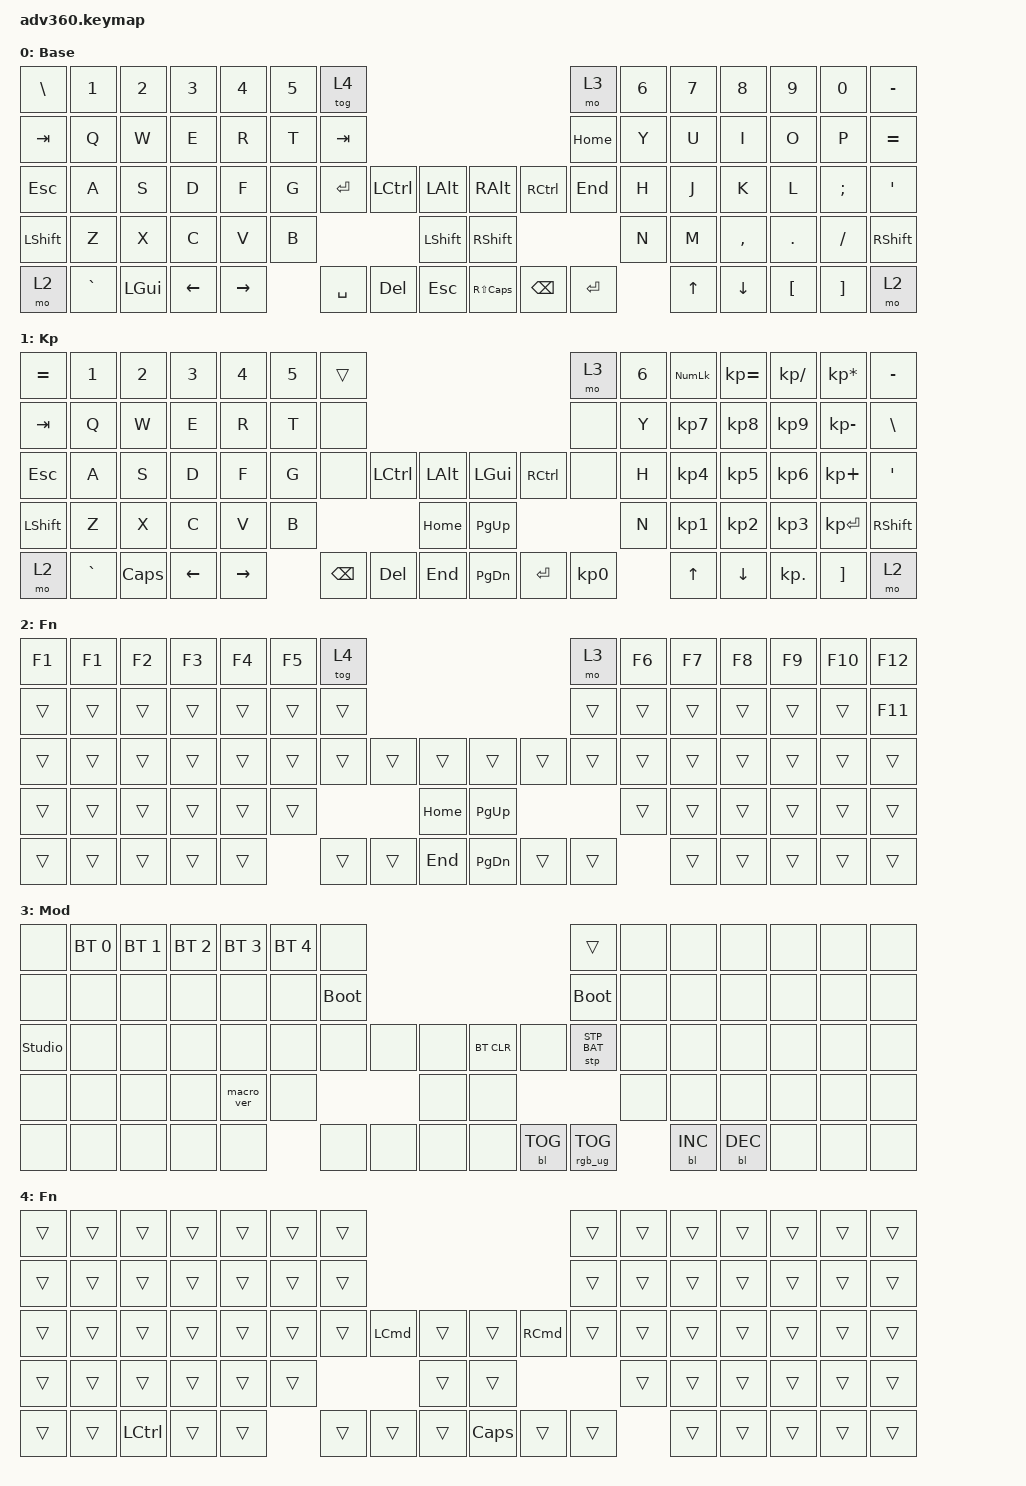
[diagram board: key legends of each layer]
#include <dt-bindings/zmk/stp.h>
#include <behaviors.dtsi>
#include <dt-bindings/zmk/backlight.h>
#include <dt-bindings/zmk/bt.h>
#include <dt-bindings/zmk/keys.h>
#include <dt-bindings/zmk/rgb.h>

/ {
    behaviors {
        #include "macros.dtsi"
      #include "version.dtsi"

        hm: homerow_mods {
            compatible = "zmk,behavior-hold-tap";
            label = "HOMEROW_MODS";
            #binding-cells = <2>;
            tapping-term-ms = <200>;
            quick_tap_ms = <175>;
            flavor = "tap-preferred";
            bindings = <&kp>, <&kp>;
        };
    };

    keymap {
        compatible = "zmk,keymap";

        default_layer {
            display-name = "Base";
            bindings = <
&kp BSLH   &kp N1     &kp N2    &kp N3    &kp N4     &kp N5  &tog 4                                                            &mo 3     &kp N6  &kp N7  &kp N8     &kp N9    &kp N0    &kp MINUS
&kp TAB    &kp Q      &kp W     &kp E     &kp R      &kp T   &kp TAB                                                           &kp HOME  &kp Y   &kp U   &kp I      &kp O     &kp P     &kp EQUAL
&kp ESC    &kp A      &kp S     &kp D     &kp F      &kp G   &kp RET    &kp LCTRL  &kp LALT       &kp RALT          &kp RCTRL  &kp END   &kp H   &kp J   &kp K      &kp L     &kp SEMI  &kp SQT
&kp LSHFT  &kp Z      &kp X     &kp C     &kp V      &kp B                         &kp LSHFT      &kp RSHFT                              &kp N   &kp M   &kp COMMA  &kp DOT   &kp FSLH  &kp RSHFT
&mo 2      &kp GRAVE  &kp LGUI  &kp LEFT  &kp RIGHT          &kp SPACE  &kp DEL    &kp ESC        &kp RS(CAPSLOCK)  &kp BSPC   &kp RET           &kp UP  &kp DOWN   &kp LBKT  &kp RBKT  &mo 2
            >;
        };

        keypad {
            display-name = "Kp";
            bindings = <
&kp EQUAL  &kp N1     &kp N2    &kp N3    &kp N4     &kp N5  &trans                                                   &mo 3      &kp N6  &kp KP_NUM  &kp KP_EQUAL  &kp KP_DIVIDE  &kp KP_MULTIPLY  &kp MINUS
&kp TAB    &kp Q      &kp W     &kp E     &kp R      &kp T   &none                                                    &none      &kp Y   &kp KP_N7   &kp KP_N8     &kp KP_N9      &kp KP_MINUS     &kp BSLH
&kp ESC    &kp A      &kp S     &kp D     &kp F      &kp G   &none     &kp LCTRL  &kp LALT      &kp LGUI   &kp RCTRL  &none      &kp H   &kp KP_N4   &kp KP_N5     &kp KP_N6      &kp KP_PLUS      &kp SQT
&kp LSHFT  &kp Z      &kp X     &kp C     &kp V      &kp B                        &kp HOME      &kp PG_UP                        &kp N   &kp KP_N1   &kp KP_N2     &kp KP_N3      &kp KP_ENTER     &kp RSHFT
&mo 2      &kp GRAVE  &kp CAPS  &kp LEFT  &kp RIGHT          &kp BSPC  &kp DEL    &kp END       &kp PG_DN  &kp ENTER  &kp KP_N0          &kp UP      &kp DOWN      &kp KP_DOT     &kp RBKT         &mo 2
            >;
        };

        fn {
            display-name = "Fn";
            bindings = <
&kp F1  &kp F1  &kp F2  &kp F3  &kp F4  &kp F5  &tog 4                                           &mo 3   &kp F6  &kp F7  &kp F8  &kp F9  &kp F10  &kp F12
&trans  &trans  &trans  &trans  &trans  &trans  &trans                                           &trans  &trans  &trans  &trans  &trans  &trans   &kp F11
&trans  &trans  &trans  &trans  &trans  &trans  &trans  &trans  &trans        &trans     &trans  &trans  &trans  &trans  &trans  &trans  &trans   &trans
&trans  &trans  &trans  &trans  &trans  &trans                  &kp HOME      &kp PG_UP                  &trans  &trans  &trans  &trans  &trans   &trans
&trans  &trans  &trans  &trans  &trans          &trans  &trans  &kp END       &kp PG_DN  &trans  &trans          &trans  &trans  &trans  &trans   &trans
            >;
        };

        mod {
            display-name = "Mod";
            bindings = <
&none           &bt BT_SEL 0  &bt BT_SEL 1  &bt BT_SEL 2  &bt BT_SEL 3  &bt BT_SEL 4  &none                                                  &trans           &none  &none       &none       &none  &none  &none
&none           &none         &none         &none         &none         &none         &bootloader                                            &bootloader      &none  &none       &none       &none  &none  &none
&studio_unlock  &none         &none         &none         &none         &none         &none        &none  &none      &bt BT_CLR  &none       &stp STP_BAT     &none  &none       &none       &none  &none  &none
&none           &none         &none         &none         &macro_ver    &none                             &none      &none                                    &none  &none       &none       &none  &none  &none
&none           &none         &none         &none         &none                       &none        &none  &none      &none       &bl BL_TOG  &rgb_ug RGB_TOG         &bl BL_INC  &bl BL_DEC  &none  &none  &none
            >;
        };

        mac {
            display-name = "Fn";
            bindings = <
&trans  &trans  &trans            &trans  &trans  &trans  &trans                                                                 &trans  &trans  &trans  &trans  &trans  &trans  &trans
&trans  &trans  &trans            &trans  &trans  &trans  &trans                                                                 &trans  &trans  &trans  &trans  &trans  &trans  &trans
&trans  &trans  &trans            &trans  &trans  &trans  &trans  &kp LEFT_COMMAND  &trans      &trans        &kp RIGHT_COMMAND  &trans  &trans  &trans  &trans  &trans  &trans  &trans
&trans  &trans  &trans            &trans  &trans  &trans                            &trans      &trans                                   &trans  &trans  &trans  &trans  &trans  &trans
&trans  &trans  &kp LEFT_CONTROL  &trans  &trans          &trans  &trans            &trans      &kp CAPSLOCK  &trans             &trans          &trans  &trans  &trans  &trans  &trans
            >;

            label = "Mac";
        };

        extra2 {
            display-name = "Purple";
            status = "reserved";
        };

        extra3 {
            display-name = "Cyan";
            status = "reserved";
        };

        extra4 {
            display-name = "Yellow";
            status = "reserved";
        };
    };
};
